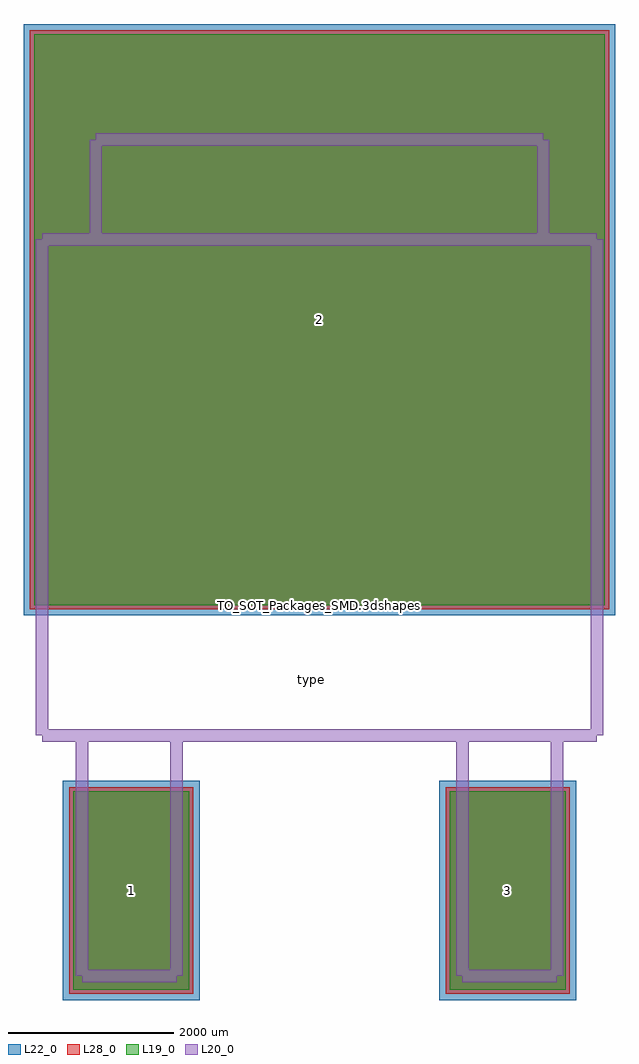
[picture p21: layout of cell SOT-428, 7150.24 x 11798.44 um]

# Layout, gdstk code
import gdstk
lib = gdstk.Library(unit=1e-6, precision=1e-09)
def R(c, l, rs):  # rectangles x0, y0, x1, y1
    for r in rs: c.add(gdstk.rectangle(r[:2], r[2:], *l))
L19_0 = (19, 0)
L20_0 = (20, 0)
L22_0 = (22, 0)
L28_0 = (28, 0)

sot_428 = lib.new_cell('SOT-428')
R(sot_428, L19_0, [(-2976.41,-4649,-1575.27,-2249.64), (1575.27,-4649,2976.41,-2249.64), (-3450.12,-0.8,3450.12,6899.44)])
R(sot_428, L22_0, [(-3101.41,-4774,-1450.27,-2124.64), (1450.27,-4774,3101.41,-2124.64), (-3575.12,-125.8,3575.12,7024.44)])
R(sot_428, L28_0, [(-3026.41,-4699,-1525.27,-2199.64), (1525.27,-4699,3026.41,-2199.64), (-3500.12,-50.8,3500.12,6949.44)])
sot_428.add(gdstk.FlexPath([(3352.8,-1574.8),(-3352.8,-1574.8)], 149.998, ends="flush", simple_path=True, layer=20, datatype=0))  # L20_0
sot_428.add(gdstk.FlexPath([(-3352.8,4419.6),(-3352.8,-1574.8)], 149.998, ends="flush", simple_path=True, layer=20, datatype=0))  # L20_0
sot_428.add(gdstk.FlexPath([(3352.8,4419.6),(-3352.8,4419.6)], 149.998, ends="flush", simple_path=True, layer=20, datatype=0))  # L20_0
sot_428.add(gdstk.FlexPath([(3352.8,-1574.8),(3352.8,4419.6)], 149.998, ends="flush", simple_path=True, layer=20, datatype=0))  # L20_0
sot_428.add(gdstk.FlexPath([(-2870.2,-1574.8),(-2870.2,-4483.1)], 149.998, ends="flush", simple_path=True, layer=20, datatype=0))  # L20_0
sot_428.add(gdstk.FlexPath([(-1727.2,-4483.1),(-1727.2,-1574.8)], 149.998, ends="flush", simple_path=True, layer=20, datatype=0))  # L20_0
sot_428.add(gdstk.FlexPath([(-2870.2,-4483.1),(-1727.2,-4483.1)], 149.998, ends="flush", simple_path=True, layer=20, datatype=0))  # L20_0
sot_428.add(gdstk.FlexPath([(1727.2,-4483.1),(2870.2,-4483.1)], 149.998, ends="flush", simple_path=True, layer=20, datatype=0))  # L20_0
sot_428.add(gdstk.FlexPath([(2870.2,-4483.1),(2870.2,-1574.8)], 149.998, ends="flush", simple_path=True, layer=20, datatype=0))  # L20_0
sot_428.add(gdstk.FlexPath([(1727.2,-1574.8),(1727.2,-4483.1)], 149.998, ends="flush", simple_path=True, layer=20, datatype=0))  # L20_0
sot_428.add(gdstk.FlexPath([(2705.1,5626.1),(2705.1,4419.6)], 149.998, ends="flush", simple_path=True, layer=20, datatype=0))  # L20_0
sot_428.add(gdstk.FlexPath([(-2705.1,5626.1),(2705.1,5626.1)], 149.998, ends="flush", simple_path=True, layer=20, datatype=0))  # L20_0
sot_428.add(gdstk.FlexPath([(-2705.1,4432.3),(-2705.1,5626.1)], 149.998, ends="flush", simple_path=True, layer=20, datatype=0))  # L20_0
sot_428.add(gdstk.Label('TO_SOT_Packages_SMD.3dshapes/SOT-428.wrl', (0,0), layer=12, texttype=0))
sot_428.add(gdstk.Label('2', (0,3449.32), layer=28, texttype=0))
sot_428.add(gdstk.Label('3', (2275.84,-3449.32), layer=28, texttype=0))
sot_428.add(gdstk.Label('1', (-2275.84,-3449.32), layer=28, texttype=0))
sot_428.add(gdstk.Label('type', (-99.06,-899.16), layer=9, texttype=0))
sot_428.add(gdstk.Label('devicename', (99.06,-1000.76), layer=9, texttype=0))

lib.write_gds('SOT-428.gds')
